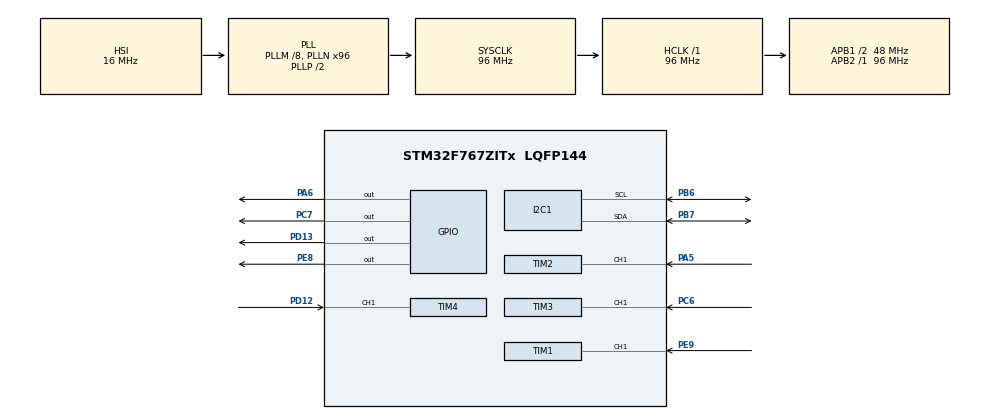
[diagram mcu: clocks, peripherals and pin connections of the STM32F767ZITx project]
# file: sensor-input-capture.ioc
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I2C1.Timing=0x20303E5D
Mcu.Family=STM32F7
Mcu.Name=STM32F767ZITx
Mcu.Package=LQFP144
NVIC.PriorityGroup=NVIC_PRIORITYGROUP_4
NVIC.TIM1_CC_IRQn=true\:0\:0\:false\:false\:true\:true\:true\:true
NVIC.TIM2_IRQn=true\:0\:0\:false\:false\:true\:true\:true\:true
NVIC.TIM3_IRQn=true\:0\:0\:false\:false\:true\:true\:true\:true
NVIC.TIM4_IRQn=true\:0\:0\:false\:false\:true\:true\:true\:true
PA5.Signal=S_TIM2_CH1_ETR
PA6.Signal=GPIO_Output
PB6.GPIO_Mode=GPIO_MODE_AF_OD
PB6.GPIO_Pu=GPIO_PULLUP
PB6.Mode=I2C
PB6.Signal=I2C1_SCL
PB7.GPIO_Mode=GPIO_MODE_AF_OD
PB7.GPIO_Pu=GPIO_PULLUP
PB7.Mode=I2C
PB7.Signal=I2C1_SDA
PC6.Signal=S_TIM3_CH1
PC7.Signal=GPIO_Output
PD12.Signal=S_TIM4_CH1
PD13.Signal=GPIO_Output
PE8.Signal=GPIO_Output
PE9.Signal=S_TIM1_CH1
ProjectManager.HeapSize=0x200
ProjectManager.StackSize=0x400
ProjectManager.TargetToolchain=STM32CubeIDE
RCC.48MHZClocksFreq_Value=24000000
RCC.AHBFreq_Value=96000000
RCC.APB1CLKDivider=RCC_HCLK_DIV2
RCC.APB1Freq_Value=48000000
RCC.APB1TimFreq_Value=96000000
RCC.APB2Freq_Value=96000000
RCC.APB2TimFreq_Value=96000000
RCC.CortexFreq_Value=96000000
RCC.HCLKFreq_Value=96000000
RCC.HSE_VALUE=8000000
RCC.HSI_VALUE=16000000
RCC.LSE_VALUE=32768
RCC.PLLM=8
RCC.PLLMUL=RCC_PLL_MUL9
RCC.PLLN=96
RCC.PLLQ=4
RCC.PRESCALERUSB=RCC_USBCLKSOURCE_PLL_DIV1_5
RCC.SYSCLKFreq_VALUE=96000000
RCC.SYSCLKSource=RCC_SYSCLKSOURCE_PLLCLK
RCC.SYSCLKSourceVirtual=RCC_SYSCLKSOURCE_PLLCLK
RCC.USBFreq_Value=48000000
RCC.VCOOutputFreq_Value=192000000
SH.S_TIM1_CH1.0=TIM1_CH1,Input_Capture1_from_TI1
SH.S_TIM2_CH1_ETR.0=TIM2_CH1,Input_Capture1_from_TI1
SH.S_TIM3_CH1.0=TIM3_CH1,Input_Capture1_from_TI1
SH.S_TIM4_CH1.0=TIM4_CH1,Input_Capture1_from_TI1
TIM1.Channel-Input_Capture1_from_TI1=TIM_CHANNEL_1
TIM1.Period=0xffff-1
TIM1.Prescaler=96-1
TIM2.Channel-Input_Capture1_from_TI1=TIM_CHANNEL_1
TIM2.Period=0xFFFF - 1
TIM2.Prescaler=95
TIM3.Channel-Input_Capture1_from_TI1=TIM_CHANNEL_1
TIM3.Period=0xffff-1
TIM3.Prescaler=96-1
TIM4.Channel-Input_Capture1_from_TI1=TIM_CHANNEL_1
TIM4.Period=0xffff - 1
TIM4.Prescaler=96-1
VP_TIM1_VS_ClockSourceINT.Mode=Internal
VP_TIM2_VS_ClockSourceINT.Mode=Internal
VP_TIM3_VS_ClockSourceINT.Mode=Internal
VP_TIM4_VS_ClockSourceINT.Mode=Internal
board=NUCLEO-F767ZI

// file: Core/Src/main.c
/* USER CODE BEGIN Header */
/**
  ******************************************************************************
  * @file           : main.c
  * @brief          : Main program body
  ******************************************************************************
  * @attention
  *
  * Copyright (c) 2025 STMicroelectronics.
  * All rights reserved.
  *
  * This software is licensed under terms that can be found in the LICENSE file
  * in the root directory of this software component.
  * If no LICENSE file comes with this software, it is provided AS-IS.
  *
  ******************************************************************************
  */
/* USER CODE END Header */
#include "main.h"

/* USER CODE BEGIN Includes */
#include "i2c-lcd.h"
/* USER CODE END Includes */

/* USER CODE BEGIN PM */
// Defines for GPIO Port and Pin
#define TRIG_PORT_T1 GPIOE
#define TRIG_PIN_T1 GPIO_PIN_8

#define TRIG_PORT_T2 GPIOA
#define TRIG_PIN_T2 GPIO_PIN_6

#define TRIG_PORT_T3 GPIOC
#define TRIG_PIN_T3 GPIO_PIN_7

#define TRIG_PORT_T4 GPIOD
#define TRIG_PIN_T4 GPIO_PIN_13

/* USER CODE END PM */

I2C_HandleTypeDef hi2c1;

TIM_HandleTypeDef htim1;
TIM_HandleTypeDef htim2;
TIM_HandleTypeDef htim3;
TIM_HandleTypeDef htim4;

void SystemClock_Config(void);
static void MX_GPIO_Init(void);
static void MX_TIM1_Init(void);
static void MX_I2C1_Init(void);
static void MX_TIM2_Init(void);
static void MX_TIM3_Init(void);
static void MX_TIM4_Init(void);
/* USER CODE BEGIN PFP */
static void HCSR04_Read (void);
void delay_in_us (uint16_t time, TIM_HandleTypeDef *htim);
/* USER CODE END PFP */

/* USER CODE BEGIN 0 */
// Variable Definitions
uint32_t val1 = 0;
uint32_t val2 = 0;
uint32_t diff = 0;
uint8_t is_first_captured = 0; // Has the first value been captured
uint8_t distance  = 0;
uint8_t idx = 0;
uint8_t d_array[4] = {0,0,0,0};

// Function that delays in microseconds (usec)
void delay_in_us (uint16_t time, TIM_HandleTypeDef *htim) {
	__HAL_TIM_SET_COUNTER(htim, 0);
	while (__HAL_TIM_GET_COUNTER(htim) <  time);
}

// Input Capture Callback ISR
// No function prototype because it is ISR and a HAL function
void HAL_TIM_IC_CaptureCallback (TIM_HandleTypeDef *htim) {
	if (htim->Channel == HAL_TIM_ACTIVE_CHANNEL_1) { // If the interrupt source is channel 1
		if (is_first_captured == 0) { // If the first value is not captured
			val1 = HAL_TIM_ReadCapturedValue(htim, TIM_CHANNEL_1); // Read the first value
			is_first_captured = 1;
			// Change the polarity to falling edge
			__HAL_TIM_SET_CAPTUREPOLARITY(htim, TIM_CHANNEL_1, TIM_INPUTCHANNELPOLARITY_FALLING);
		}
		else if (is_first_captured == 1) { // If the first is already captured
			val2 = HAL_TIM_ReadCapturedValue(htim, TIM_CHANNEL_1);  // Read second value
			__HAL_TIM_SET_COUNTER(htim, 0);  // Reset the counter

			if (val2 > val1) {
				diff = val2 - val1; // diff is in microseconds
			}

			else if (val1 > val2) {
				diff = (0xffff - val1) + val2;  // diff is in microseconds
			}

			d_array[idx] = diff * .034/2;  // UNITS BREAKDOWN: (10^(-6) s) * (10^4 m/s) = 10^(-2) m = cm -> distance is in cm
			is_first_captured = 0; // Set back to false

			// Set polarity to rising edge
			__HAL_TIM_SET_CAPTUREPOLARITY(htim, TIM_CHANNEL_1, TIM_INPUTCHANNELPOLARITY_RISING);
			__HAL_TIM_DISABLE_IT(htim, TIM_IT_CC1);
		}
	}
}

// Drive TRIG Pin
static void HCSR04_Read (void) {
	idx = 0;
	HAL_GPIO_WritePin(TRIG_PORT_T1, TRIG_PIN_T1, GPIO_PIN_SET);  // pull the TRIG pin HIGH
	delay_in_us(10, &htim1);  // wait for 10 us
	HAL_GPIO_WritePin(TRIG_PORT_T1, TRIG_PIN_T1, GPIO_PIN_RESET);  // pull the TRIG pin low
	__HAL_TIM_ENABLE_IT(&htim1, TIM_IT_CC1);
	HAL_Delay(10);

	idx = 1;
	HAL_GPIO_WritePin(TRIG_PORT_T2, TRIG_PIN_T2, GPIO_PIN_SET);  // pull the TRIG pin HIGH
	delay_in_us(10, &htim2);  // wait for 10 us
	HAL_GPIO_WritePin(TRIG_PORT_T2, TRIG_PIN_T2, GPIO_PIN_RESET);  // pull the TRIG pin low
	__HAL_TIM_ENABLE_IT(&htim2, TIM_IT_CC1);
	HAL_Delay(10);

	idx = 2;
	HAL_GPIO_WritePin(TRIG_PORT_T3, TRIG_PIN_T3, GPIO_PIN_SET);  // pull the TRIG pin HIGH
	delay_in_us(10, &htim3);  // wait for 10 us
	HAL_GPIO_WritePin(TRIG_PORT_T3, TRIG_PIN_T3, GPIO_PIN_RESET);  // pull the TRIG pin low
	__HAL_TIM_ENABLE_IT(&htim3, TIM_IT_CC1);
	HAL_Delay(10);

	idx = 3;
	HAL_GPIO_WritePin(TRIG_PORT_T4, TRIG_PIN_T4, GPIO_PIN_SET);  // pull the TRIG pin HIGH
	delay_in_us(10, &htim4);  // wait for 10 us
	HAL_GPIO_WritePin(TRIG_PORT_T4, TRIG_PIN_T4, GPIO_PIN_RESET);  // pull the TRIG pin low
	__HAL_TIM_ENABLE_IT(&htim4, TIM_IT_CC1);
	HAL_Delay(10);

}

/* USER CODE END 0 */

int main(void)
{

  /* MCU Configuration--------------------------------------------------------*/

  /* Reset of all peripherals, Initializes the Flash interface and the Systick. */
  HAL_Init();

  /* Configure the system clock */
  SystemClock_Config();

  /* Initialize all configured peripherals */
  MX_GPIO_Init();
  MX_TIM1_Init();
  MX_I2C1_Init();
  MX_TIM2_Init();
  MX_TIM3_Init();
  MX_TIM4_Init();
  /* USER CODE BEGIN 2 */
  lcd_init();
  HAL_TIM_IC_Start_IT(&htim1, TIM_CHANNEL_1);
  HAL_TIM_IC_Start_IT(&htim2, TIM_CHANNEL_1);
  HAL_TIM_IC_Start_IT(&htim3, TIM_CHANNEL_1);
  HAL_TIM_IC_Start_IT(&htim4, TIM_CHANNEL_1);
  lcd_send_string ("Dist= ");
  /* USER CODE END 2 */

  /* Infinite loop */
  while (1)
  {

    /* USER CODE BEGIN 3 */
	HCSR04_Read();
	lcd_put_cur(0, 6);
	lcd_send_data((d_array[0]/100) + 48);   // 100th pos
	lcd_send_data(((d_array[0]/10)%10) +48);  // 10th pos
	lcd_send_data((d_array[0]%10)+48);  // 1st pos
	lcd_send_string(" cm");
	HAL_Delay(100);
  }
  /* USER CODE END 3 */
}

void SystemClock_Config(void)
{
  RCC_OscInitTypeDef RCC_OscInitStruct = {0};
  RCC_ClkInitTypeDef RCC_ClkInitStruct = {0};

  /** Configure the main internal regulator output voltage
  */
  __HAL_RCC_PWR_CLK_ENABLE();
  __HAL_PWR_VOLTAGESCALING_CONFIG(PWR_REGULATOR_VOLTAGE_SCALE3);

  /** Initializes the RCC Oscillators according to the specified parameters
  * in the RCC_OscInitTypeDef structure.
  */
  RCC_OscInitStruct.OscillatorType = RCC_OSCILLATORTYPE_HSI;
  RCC_OscInitStruct.HSIState = RCC_HSI_ON;
  RCC_OscInitStruct.HSICalibrationValue = RCC_HSICALIBRATION_DEFAULT;
  RCC_OscInitStruct.PLL.PLLState = RCC_PLL_ON;
  RCC_OscInitStruct.PLL.PLLSource = RCC_PLLSOURCE_HSI;
  RCC_OscInitStruct.PLL.PLLM = 8;
  RCC_OscInitStruct.PLL.PLLN = 96;
  RCC_OscInitStruct.PLL.PLLP = RCC_PLLP_DIV2;
  RCC_OscInitStruct.PLL.PLLQ = 4;
  RCC_OscInitStruct.PLL.PLLR = 2;
  if (HAL_RCC_OscConfig(&RCC_OscInitStruct) != HAL_OK)
  {
    Error_Handler();
  }

  /** Activate the Over-Drive mode
  */
  if (HAL_PWREx_EnableOverDrive() != HAL_OK)
  {
    Error_Handler();
  }

  /** Initializes the CPU, AHB and APB buses clocks
  */
  RCC_ClkInitStruct.ClockType = RCC_CLOCKTYPE_HCLK|RCC_CLOCKTYPE_SYSCLK
                              |RCC_CLOCKTYPE_PCLK1|RCC_CLOCKTYPE_PCLK2;
  RCC_ClkInitStruct.SYSCLKSource = RCC_SYSCLKSOURCE_PLLCLK;
  RCC_ClkInitStruct.AHBCLKDivider = RCC_SYSCLK_DIV1;
  RCC_ClkInitStruct.APB1CLKDivider = RCC_HCLK_DIV2;
  RCC_ClkInitStruct.APB2CLKDivider = RCC_HCLK_DIV1;

  if (HAL_RCC_ClockConfig(&RCC_ClkInitStruct, FLASH_LATENCY_3) != HAL_OK)
  {
    Error_Handler();
  }
}

static void MX_I2C1_Init(void)
{

  hi2c1.Instance = I2C1;
  hi2c1.Init.Timing = 0x20303E5D;
  hi2c1.Init.OwnAddress1 = 0;
  hi2c1.Init.AddressingMode = I2C_ADDRESSINGMODE_7BIT;
  hi2c1.Init.DualAddressMode = I2C_DUALADDRESS_DISABLE;
  hi2c1.Init.OwnAddress2 = 0;
  hi2c1.Init.OwnAddress2Masks = I2C_OA2_NOMASK;
  hi2c1.Init.GeneralCallMode = I2C_GENERALCALL_DISABLE;
  hi2c1.Init.NoStretchMode = I2C_NOSTRETCH_DISABLE;
  if (HAL_I2C_Init(&hi2c1) != HAL_OK)
  {
    Error_Handler();
  }

  /** Configure Analogue filter
  */
  if (HAL_I2CEx_ConfigAnalogFilter(&hi2c1, I2C_ANALOGFILTER_ENABLE) != HAL_OK)
  {
    Error_Handler();
  }

  /** Configure Digital filter
  */
  if (HAL_I2CEx_ConfigDigitalFilter(&hi2c1, 0) != HAL_OK)
  {
    Error_Handler();
  }

}

static void MX_TIM1_Init(void)
{

  TIM_ClockConfigTypeDef sClockSourceConfig = {0};
  TIM_MasterConfigTypeDef sMasterConfig = {0};
  TIM_IC_InitTypeDef sConfigIC = {0};

  htim1.Instance = TIM1;
  htim1.Init.Prescaler = 96-1;
  htim1.Init.CounterMode = TIM_COUNTERMODE_UP;
  htim1.Init.Period = 0xffff-1;
  htim1.Init.ClockDivision = TIM_CLOCKDIVISION_DIV1;
  htim1.Init.RepetitionCounter = 0;
  htim1.Init.AutoReloadPreload = TIM_AUTORELOAD_PRELOAD_DISABLE;
  if (HAL_TIM_Base_Init(&htim1) != HAL_OK)
  {
    Error_Handler();
  }
  sClockSourceConfig.ClockSource = TIM_CLOCKSOURCE_INTERNAL;
  if (HAL_TIM_ConfigClockSource(&htim1, &sClockSourceConfig) != HAL_OK)
  {
    Error_Handler();
  }
  if (HAL_TIM_IC_Init(&htim1) != HAL_OK)
  {
    Error_Handler();
  }
  sMasterConfig.MasterOutputTrigger = TIM_TRGO_RESET;
  sMasterConfig.MasterOutputTrigger2 = TIM_TRGO2_RESET;
  sMasterConfig.MasterSlaveMode = TIM_MASTERSLAVEMODE_DISABLE;
  if (HAL_TIMEx_MasterConfigSynchronization(&htim1, &sMasterConfig) != HAL_OK)
  {
    Error_Handler();
  }
  sConfigIC.ICPolarity = TIM_INPUTCHANNELPOLARITY_RISING;
  sConfigIC.ICSelection = TIM_ICSELECTION_DIRECTTI;
  sConfigIC.ICPrescaler = TIM_ICPSC_DIV1;
  sConfigIC.ICFilter = 0;
  if (HAL_TIM_IC_ConfigChannel(&htim1, &sConfigIC, TIM_CHANNEL_1) != HAL_OK)
  {
    Error_Handler();
  }

}

static void MX_TIM2_Init(void)
{

  TIM_ClockConfigTypeDef sClockSourceConfig = {0};
  TIM_MasterConfigTypeDef sMasterConfig = {0};
  TIM_IC_InitTypeDef sConfigIC = {0};

  htim2.Instance = TIM2;
  htim2.Init.Prescaler = 95;
  htim2.Init.CounterMode = TIM_COUNTERMODE_UP;
  htim2.Init.Period = 0xFFFF - 1;
  htim2.Init.ClockDivision = TIM_CLOCKDIVISION_DIV1;
  htim2.Init.AutoReloadPreload = TIM_AUTORELOAD_PRELOAD_DISABLE;
  if (HAL_TIM_Base_Init(&htim2) != HAL_OK)
  {
    Error_Handler();
  }
  sClockSourceConfig.ClockSource = TIM_CLOCKSOURCE_INTERNAL;
  if (HAL_TIM_ConfigClockSource(&htim2, &sClockSourceConfig) != HAL_OK)
  {
    Error_Handler();
  }
  if (HAL_TIM_IC_Init(&htim2) != HAL_OK)
  {
    Error_Handler();
  }
  sMasterConfig.MasterOutputTrigger = TIM_TRGO_RESET;
  sMasterConfig.MasterSlaveMode = TIM_MASTERSLAVEMODE_DISABLE;
  if (HAL_TIMEx_MasterConfigSynchronization(&htim2, &sMasterConfig) != HAL_OK)
  {
    Error_Handler();
  }
  sConfigIC.ICPolarity = TIM_INPUTCHANNELPOLARITY_RISING;
  sConfigIC.ICSelection = TIM_ICSELECTION_DIRECTTI;
  sConfigIC.ICPrescaler = TIM_ICPSC_DIV1;
  sConfigIC.ICFilter = 0;
  if (HAL_TIM_IC_ConfigChannel(&htim2, &sConfigIC, TIM_CHANNEL_1) != HAL_OK)
  {
    Error_Handler();
  }

}

static void MX_TIM3_Init(void)
{

  TIM_ClockConfigTypeDef sClockSourceConfig = {0};
  TIM_MasterConfigTypeDef sMasterConfig = {0};
  TIM_IC_InitTypeDef sConfigIC = {0};

  htim3.Instance = TIM3;
  htim3.Init.Prescaler = 96-1;
  htim3.Init.CounterMode = TIM_COUNTERMODE_UP;
  htim3.Init.Period = 0xffff-1;
  htim3.Init.ClockDivision = TIM_CLOCKDIVISION_DIV1;
  htim3.Init.AutoReloadPreload = TIM_AUTORELOAD_PRELOAD_DISABLE;
  if (HAL_TIM_Base_Init(&htim3) != HAL_OK)
  {
    Error_Handler();
  }
  sClockSourceConfig.ClockSource = TIM_CLOCKSOURCE_INTERNAL;
  if (HAL_TIM_ConfigClockSource(&htim3, &sClockSourceConfig) != HAL_OK)
  {
    Error_Handler();
  }
  if (HAL_TIM_IC_Init(&htim3) != HAL_OK)
  {
    Error_Handler();
  }
  sMasterConfig.MasterOutputTrigger = TIM_TRGO_RESET;
  sMasterConfig.MasterSlaveMode = TIM_MASTERSLAVEMODE_DISABLE;
  if (HAL_TIMEx_MasterConfigSynchronization(&htim3, &sMasterConfig) != HAL_OK)
  {
    Error_Handler();
  }
  sConfigIC.ICPolarity = TIM_INPUTCHANNELPOLARITY_RISING;
  sConfigIC.ICSelection = TIM_ICSELECTION_DIRECTTI;
  sConfigIC.ICPrescaler = TIM_ICPSC_DIV1;
  sConfigIC.ICFilter = 0;
  if (HAL_TIM_IC_ConfigChannel(&htim3, &sConfigIC, TIM_CHANNEL_1) != HAL_OK)
  {
    Error_Handler();
  }

}

static void MX_TIM4_Init(void)
{

  TIM_ClockConfigTypeDef sClockSourceConfig = {0};
  TIM_MasterConfigTypeDef sMasterConfig = {0};
  TIM_IC_InitTypeDef sConfigIC = {0};

  htim4.Instance = TIM4;
  htim4.Init.Prescaler = 96-1;
  htim4.Init.CounterMode = TIM_COUNTERMODE_UP;
  htim4.Init.Period = 0xffff - 1;
  htim4.Init.ClockDivision = TIM_CLOCKDIVISION_DIV1;
  htim4.Init.AutoReloadPreload = TIM_AUTORELOAD_PRELOAD_DISABLE;
  if (HAL_TIM_Base_Init(&htim4) != HAL_OK)
  {
    Error_Handler();
  }
  sClockSourceConfig.ClockSource = TIM_CLOCKSOURCE_INTERNAL;
  if (HAL_TIM_ConfigClockSource(&htim4, &sClockSourceConfig) != HAL_OK)
  {
    Error_Handler();
  }
  if (HAL_TIM_IC_Init(&htim4) != HAL_OK)
  {
    Error_Handler();
  }
  sMasterConfig.MasterOutputTrigger = TIM_TRGO_RESET;
  sMasterConfig.MasterSlaveMode = TIM_MASTERSLAVEMODE_DISABLE;
  if (HAL_TIMEx_MasterConfigSynchronization(&htim4, &sMasterConfig) != HAL_OK)
  {
    Error_Handler();
  }
  sConfigIC.ICPolarity = TIM_INPUTCHANNELPOLARITY_RISING;
  sConfigIC.ICSelection = TIM_ICSELECTION_DIRECTTI;
  sConfigIC.ICPrescaler = TIM_ICPSC_DIV1;
  sConfigIC.ICFilter = 0;
  if (HAL_TIM_IC_ConfigChannel(&htim4, &sConfigIC, TIM_CHANNEL_1) != HAL_OK)
  {
    Error_Handler();
  }

}

static void MX_GPIO_Init(void)
{
  GPIO_InitTypeDef GPIO_InitStruct = {0};

  /* GPIO Ports Clock Enable */
  __HAL_RCC_GPIOA_CLK_ENABLE();
  __HAL_RCC_GPIOE_CLK_ENABLE();
  __HAL_RCC_GPIOD_CLK_ENABLE();
  __HAL_RCC_GPIOC_CLK_ENABLE();
  __HAL_RCC_GPIOB_CLK_ENABLE();

  /*Configure GPIO pin Output Level */
  HAL_GPIO_WritePin(GPIOA, GPIO_PIN_6, GPIO_PIN_RESET);

  /*Configure GPIO pin Output Level */
  HAL_GPIO_WritePin(GPIOE, GPIO_PIN_8, GPIO_PIN_RESET);

  /*Configure GPIO pin Output Level */
  HAL_GPIO_WritePin(GPIOD, GPIO_PIN_13, GPIO_PIN_RESET);

  /*Configure GPIO pin Output Level */
  HAL_GPIO_WritePin(GPIOC, GPIO_PIN_7, GPIO_PIN_RESET);

  /*Configure GPIO pin : PA6 */
  GPIO_InitStruct.Pin = GPIO_PIN_6;
  GPIO_InitStruct.Mode = GPIO_MODE_OUTPUT_PP;
  GPIO_InitStruct.Pull = GPIO_NOPULL;
  GPIO_InitStruct.Speed = GPIO_SPEED_FREQ_LOW;
  HAL_GPIO_Init(GPIOA, &GPIO_InitStruct);

  /*Configure GPIO pin : PE8 */
  GPIO_InitStruct.Pin = GPIO_PIN_8;
  GPIO_InitStruct.Mode = GPIO_MODE_OUTPUT_PP;
  GPIO_InitStruct.Pull = GPIO_NOPULL;
  GPIO_InitStruct.Speed = GPIO_SPEED_FREQ_LOW;
  HAL_GPIO_Init(GPIOE, &GPIO_InitStruct);

  /*Configure GPIO pin : PD13 */
  GPIO_InitStruct.Pin = GPIO_PIN_13;
  GPIO_InitStruct.Mode = GPIO_MODE_OUTPUT_PP;
  GPIO_InitStruct.Pull = GPIO_NOPULL;
  GPIO_InitStruct.Speed = GPIO_SPEED_FREQ_LOW;
  HAL_GPIO_Init(GPIOD, &GPIO_InitStruct);

  /*Configure GPIO pin : PC7 */
  GPIO_InitStruct.Pin = GPIO_PIN_7;
  GPIO_InitStruct.Mode = GPIO_MODE_OUTPUT_PP;
  GPIO_InitStruct.Pull = GPIO_NOPULL;
  GPIO_InitStruct.Speed = GPIO_SPEED_FREQ_LOW;
  HAL_GPIO_Init(GPIOC, &GPIO_InitStruct);

}

void Error_Handler(void)
{
  __disable_irq();
  while (1)
  {
  }
}
